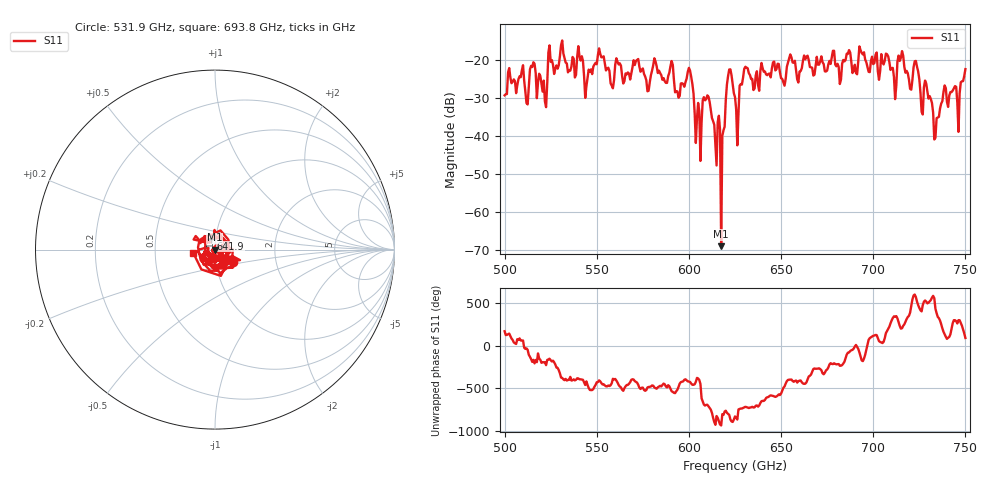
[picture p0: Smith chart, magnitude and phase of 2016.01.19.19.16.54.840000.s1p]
!Created with skrf (http://scikit-rf.org).
# GHz S RI R 50.0
!freq ReS11 ImS11
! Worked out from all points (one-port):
!   401 points, 500 GHz to 750 GHz, reference 50 ohm
!   lowest |S11| = -68.9 dB at 617.5 GHz (marker M1), VSWR 1.00, Z = 50 + j0.0195 ohm
!   |S11| at or under -10 dB: start of sweep to end of sweep
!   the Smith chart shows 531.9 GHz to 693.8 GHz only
!   S11 on the Smith chart (normalised r, x): 531.9 GHz: 1.21, -0.17; 641.9 GHz: 0.95, +0.12; 693.8 GHz: 0.78, -0.03
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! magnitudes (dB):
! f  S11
! 500 GHz  -29.3
! 511.9 GHz  -31.4
! 515 GHz  -21.9
! 521.9 GHz  -31.0
! 525 GHz  -20.5
! 531.2 GHz  -14.9
! 531.9 GHz  -18.3
! 544.4 GHz  -27.0
! 551.9 GHz  -18.4
! 558.1 GHz  -26.8
! 562.5 GHz  -20.9
! 590 GHz  -21.6
! 593.8 GHz  -28.3
! 600.6 GHz  -22.9
! 605 GHz  -31.3
! 610 GHz  -29.3
! 617.5 GHz  -68.9
! 621.9 GHz  -22.5
! 625 GHz  -29.8
! 630.6 GHz  -21.8
! 641.9 GHz  -23.8
! 656.2 GHz  -20.7
! 687.5 GHz  -18.1
! 693.8 GHz  -18.2
! 718.8 GHz  -23.5
! 723.1 GHz  -20.3
! 734.4 GHz  -35.3
! 750 GHz  -22.4
